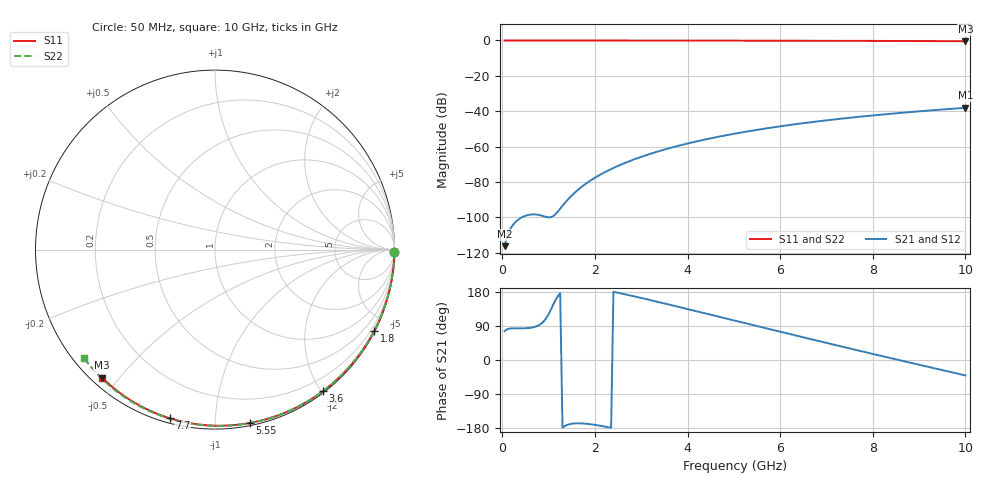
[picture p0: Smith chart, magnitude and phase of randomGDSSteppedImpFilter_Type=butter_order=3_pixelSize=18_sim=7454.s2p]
! freq	dB(S11)	phase(S11)	dB(S12)	phase(S12)
!  dB(S21)	phase(S21)	dB(S22)	phase(S22)
!S-par simulation data
#  GHz  S  DB  R 50
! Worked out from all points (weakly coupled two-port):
!   200 points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, 50 MHz to 10 GHz, reference 50 ohm
!   highest |S21| = -38.05 dB at 10 GHz (marker M1); lowest = -116.3 dB at 50 MHz (marker M2)
!   lowest |S11| = -0.4 dB at 10 GHz (marker M3), VSWR 39.72, Z = 1.51 - j22.5 ohm
!   |S11| at or under -10 dB: nowhere
!   |S22| runs from -0.5 to 0.0 dB; largest |S21 - S12| = 0
!   S11 on the Smith chart (normalised r, x): 50 MHz: open; 1.8 GHz: 0.04, -4.17; 3.6 GHz: 0.02, -2.02; 5.55 GHz: 0.02, -1.22; 7.7 GHz: 0.02, -0.77; 10 GHz: 0.03, -0.45
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0.05  -0.00 -0.8  -116.25 76.3  -116.25 76.3  -0.00 -0.8
0.45  -0.01 -6.8  -99.59 83.6  -99.59 83.6  -0.01 -7.3
0.9  -0.02 -13.6  -99.38 102.7  -99.38 102.7  -0.02 -14.5
1.75  -0.03 -26.2  -81.98 -167.6  -81.98 -167.6  -0.04 -28.0
1.8  -0.03 -27.0  -81.02 -168.1  -81.02 -168.1  -0.04 -28.8
1.85  -0.04 -27.7  -80.11 -168.7  -80.11 -168.7  -0.04 -29.6
2.15  -0.04 -32.1  -75.34 -174.2  -75.34 -174.2  -0.04 -34.2
2.35  -0.04 -35.0  -72.67 -178.8  -72.67 -178.8  -0.05 -37.3
2.55  -0.05 -37.9  -70.30 176.1  -70.30 176.1  -0.05 -40.4
2.95  -0.06 -43.6  -66.23 165.1  -66.23 165.1  -0.06 -46.5
3.4  -0.07 -49.9  -62.42 152.2  -62.42 152.2  -0.07 -53.2
3.6  -0.07 -52.7  -60.93 146.3  -60.93 146.3  -0.08 -56.2
3.9  -0.08 -56.8  -58.88 137.4  -58.88 137.4  -0.08 -60.6
4.3  -0.09 -62.3  -56.43 125.5  -56.43 125.5  -0.09 -66.4
5.05  -0.11 -72.2  -52.52 103.0  -52.52 103.0  -0.12 -77.0
5.55  -0.13 -78.7  -50.31 88.1  -50.31 88.1  -0.14 -83.8
6.1  -0.15 -85.7  -48.15 71.7  -48.15 71.7  -0.16 -91.2
6.7  -0.18 -93.1  -46.08 53.9  -46.08 53.9  -0.19 -99.1
7.7  -0.24 -105.1  -43.15 24.7  -43.15 24.7  -0.26 -111.9
8.35  -0.29 -112.7  -41.52 6.0  -41.52 6.0  -0.31 -120.1
9.2  -0.36 -122.4  -39.63 -18.2  -39.63 -18.2  -0.39 -130.6
10  -0.44 -131.5  -38.05 -40.7  -38.05 -40.7  -0.48 -140.5
